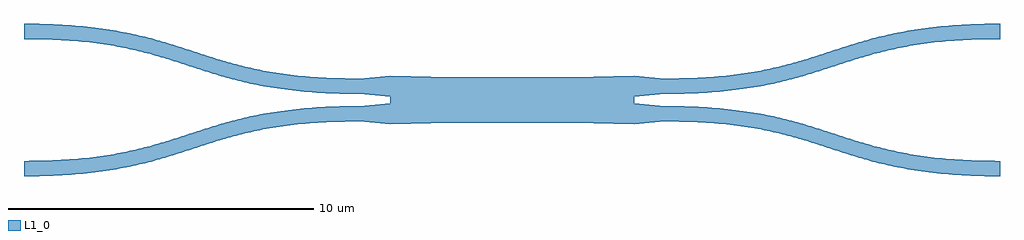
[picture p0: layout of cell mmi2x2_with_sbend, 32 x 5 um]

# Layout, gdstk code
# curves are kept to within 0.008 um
import gdstk
lib = gdstk.Library(unit=1e-6, precision=1e-09)
def P(c, l, *ps):  # polygons
    for p in ps: c.add(gdstk.Polygon(p, *l))
L1_0 = (1, 0)

mmi2x2_with_sbend = lib.new_cell('mmi2x2_with_sbend')
P(mmi2x2_with_sbend, L1_0, [(9,0.2),(9,0.7),(9.94,0.719),(10.771,0.773),(11.507,0.857),(12.269,0.987),(12.856,1.119),(13.4,1.266),(15.018,1.78),(15.737,1.992),(16.423,2.16),(17.187,2.303),(17.921,2.399),(18.599,2.457),(19.346,2.491),(20,2.5),(20,2),(19.06,1.981),(18.229,1.927),(17.493,1.843),(16.731,1.713),(16.144,1.581),(15.6,1.434),(13.982,0.92),(13.263,0.708),(12.577,0.54),(11.813,0.397),(11.079,0.301),(10.401,0.243),(9.654,0.209)],
  [(-1,0.2),(-1.654,0.209),(-2.401,0.243),(-3.079,0.301),(-3.813,0.397),(-4.577,0.54),(-5.263,0.708),(-5.982,0.92),(-7.6,1.434),(-8.144,1.581),(-8.731,1.713),(-9.493,1.843),(-10.229,1.927),(-11.06,1.981),(-12,2),(-12,2.5),(-11.346,2.491),(-10.599,2.457),(-9.921,2.399),(-9.187,2.303),(-8.423,2.16),(-7.737,1.992),(-7.018,1.78),(-5.4,1.266),(-4.856,1.119),(-4.269,0.987),(-3.507,0.857),(-2.771,0.773),(-1.94,0.719),(-1,0.7)],
  [(20,-2.5),(19.346,-2.491),(18.599,-2.457),(17.921,-2.399),(17.187,-2.303),(16.423,-2.16),(15.737,-1.992),(15.018,-1.78),(13.4,-1.266),(12.856,-1.119),(12.269,-0.987),(11.507,-0.857),(10.771,-0.773),(9.94,-0.719),(9,-0.7),(9,-0.2),(9.654,-0.209),(10.401,-0.243),(11.079,-0.301),(11.813,-0.397),(12.577,-0.54),(13.263,-0.708),(13.982,-0.92),(15.6,-1.434),(16.144,-1.581),(16.731,-1.713),(17.493,-1.843),(18.229,-1.927),(19.06,-1.981),(20,-2)],
  [(-12,-2.5),(-12,-2),(-11.06,-1.981),(-10.229,-1.927),(-9.493,-1.843),(-8.731,-1.713),(-8.144,-1.581),(-7.6,-1.434),(-5.982,-0.92),(-5.263,-0.708),(-4.577,-0.54),(-3.813,-0.397),(-3.079,-0.301),(-2.401,-0.243),(-1.654,-0.209),(-1,-0.2),(-1,-0.7),(-1.94,-0.719),(-2.771,-0.773),(-3.507,-0.857),(-4.269,-0.987),(-4.856,-1.119),(-5.4,-1.266),(-7.018,-1.78),(-7.737,-1.992),(-8.423,-2.16),(-9.187,-2.303),(-9.921,-2.399),(-10.599,-2.457),(-11.346,-2.491)],
  [(0,-0.8),(0,0.8),(2,0.74),(4,0.74),(6,0.74),(8,0.8),(8,-0.8),(6,-0.74),(4,-0.74),(2,-0.74)],
  [(8,0.1),(8,0.8),(9,0.7),(9,0.2)],
  [(0,0.1),(-1,0.2),(-1,0.7),(0,0.8)],
  [(8,-0.8),(8,-0.1),(9,-0.2),(9,-0.7)],
  [(0,-0.8),(-1,-0.7),(-1,-0.2),(0,-0.1)])

lib.write_gds('mmi2x2_with_sbend.gds')
